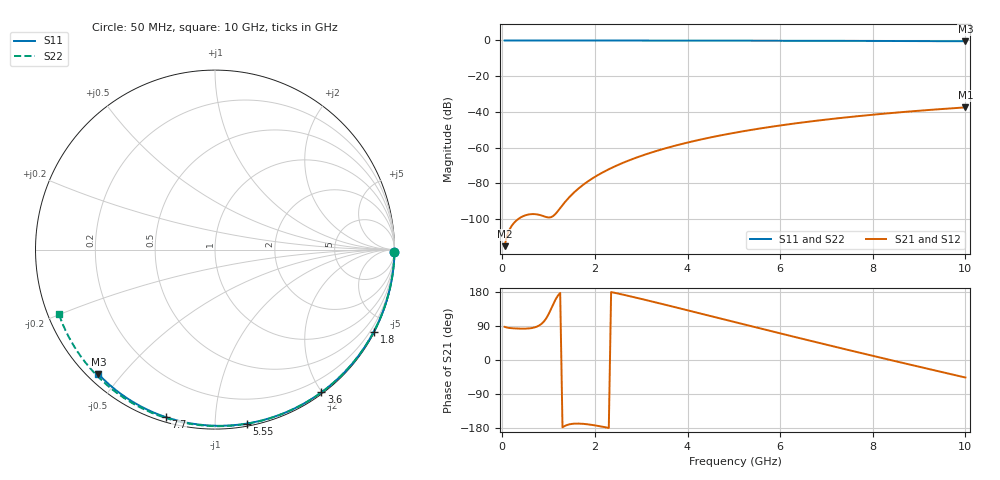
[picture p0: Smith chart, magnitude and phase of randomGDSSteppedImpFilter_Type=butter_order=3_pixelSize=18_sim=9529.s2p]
! freq	dB(S11)	phase(S11)	dB(S12)	phase(S12)
!  dB(S21)	phase(S21)	dB(S22)	phase(S22)
!S-par simulation data
#  GHz  S  DB  R 50
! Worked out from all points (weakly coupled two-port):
!   200 points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, 50 MHz to 10 GHz, reference 50 ohm
!   highest |S21| = -37.48 dB at 10 GHz (marker M1); lowest = -115.2 dB at 50 MHz (marker M2)
!   lowest |S11| = -0.4 dB at 10 GHz (marker M3), VSWR 39.14, Z = 1.52 - j21.7 ohm
!   |S11| at or under -10 dB: nowhere
!   |S22| runs from -0.5 to 0.0 dB; largest |S21 - S12| = 0
!   S11 on the Smith chart (normalised r, x): 50 MHz: open; 1.8 GHz: 0.04, -4.12; 3.6 GHz: 0.02, -1.99; 5.55 GHz: 0.02, -1.20; 7.7 GHz: 0.02, -0.75; 10 GHz: 0.03, -0.43
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0.05  -0.00 -0.8  -115.19 87.5  -115.19 87.5  -0.00 -0.9
0.45  -0.01 -6.9  -98.40 82.6  -98.40 82.6  -0.01 -8.2
0.9  -0.02 -13.8  -98.49 101.8  -98.49 101.8  -0.02 -16.4
1.3  -0.02 -19.8  -92.21 -177.7  -92.21 -177.7  -0.03 -23.5
1.75  -0.03 -26.5  -80.76 -168.5  -80.76 -168.5  -0.04 -31.5
1.8  -0.03 -27.3  -79.80 -169.1  -79.80 -169.1  -0.04 -32.4
1.95  -0.04 -29.5  -77.18 -171.5  -77.18 -171.5  -0.04 -35.0
2.1  -0.04 -31.7  -74.86 -174.6  -74.86 -174.6  -0.05 -37.6
2.3  -0.04 -34.7  -72.12 -179.4  -72.12 -179.4  -0.05 -41.1
2.5  -0.05 -37.6  -69.70 175.4  -69.70 175.4  -0.06 -44.6
2.9  -0.06 -43.4  -65.56 164.2  -65.56 164.2  -0.07 -51.4
3.4  -0.07 -50.5  -61.32 149.4  -61.32 149.4  -0.08 -59.7
3.6  -0.07 -53.3  -59.84 143.4  -59.84 143.4  -0.08 -63.0
4.3  -0.09 -63.0  -55.38 122.1  -55.38 122.1  -0.11 -74.4
5.05  -0.11 -73.1  -51.53 99.1  -51.53 99.1  -0.13 -86.1
5.55  -0.13 -79.6  -49.35 83.9  -49.35 83.9  -0.15 -93.7
6.1  -0.15 -86.7  -47.24 67.3  -47.24 67.3  -0.18 -101.9
6.7  -0.18 -94.2  -45.21 49.3  -45.21 49.3  -0.22 -110.7
7.7  -0.24 -106.3  -42.34 19.8  -42.34 19.8  -0.29 -125.0
8.35  -0.29 -114.0  -40.75 0.9  -40.75 0.9  -0.34 -134.2
9.2  -0.36 -123.9  -38.95 -23.5  -38.95 -23.5  -0.43 -146.2
10  -0.44 -133.1  -37.48 -46.2  -37.48 -46.2  -0.53 -157.6
